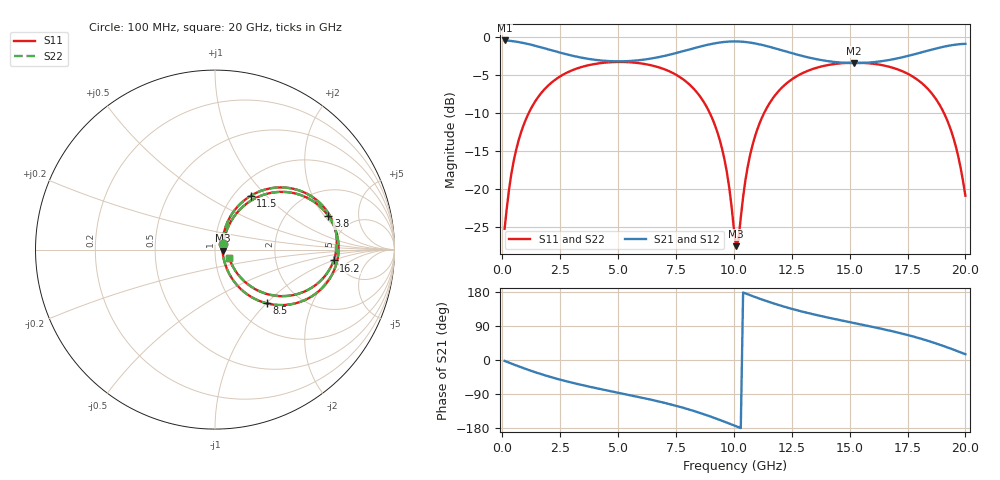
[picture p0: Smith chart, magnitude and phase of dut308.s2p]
! Touchstone file exported from HFSS 2026.1.0
!  File:  C:/ffzhzh/LocalFiles/Ansys_Project_Files/temp_train_TSV_RDL_308_1783028990_51716.aedt
!  Generated:  06:08:00 AM Jul  3, 2026
!  Design:  TSV_RDL
!  Project:  temp_train_TSV_RDL_308_1783028990_51716
! Variables:
!  h_bsmrdl = 3.72um
!  h_ox = 20um
!  h_rdl = 5um
!  h_sub = 68.71um
!  h_tmrdl = 3.03um
!  h_tsv = 68.71um
!  h_via = 3um
!  l_bsmrdl = 782.29um
!  l_sub = 5927.54um
!  l_tmrdl = 773.38um
!  m_sub = 200um
!  pitch = 57.39um
!  r_tsv = 7.88um
!  s_tmrdl = 10um
!  w_bsmrdl = 18.57um
!  w_sub = 500um
!  w_tmrdl = 10.48um
!  x_tsv_center1 = 778.62um
!  x_tsv_center2 = 1579.48um
!  x_tsv_center3 = 2363.34um
!  x_tsv_center4 = 3164.2um
!  x_tsv_center5 = 3948.06um
!  x_tsv_center6 = 4748.92um
# GHz S MA R 50.000000
! Terminal data exported
! Port[1] = TM_RDL1_1_T1
! Port[2] = TM_RDL5_1_T1
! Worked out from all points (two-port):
!   200 points, 100 MHz to 20 GHz, reference 50 ohm
!   highest |S21| = -0.41 dB at 100 MHz (marker M1); lowest = -3.4 dB at 15.2 GHz (marker M2)
!   |S21| within 3 dB of the highest: start of sweep to end of sweep
!   lowest |S11| = -27.5 dB at 10.1 GHz (marker M3), VSWR 1.09, Z = 54.4 - j0.549 ohm
!   |S11| at or under -10 dB: start of sweep to 1.138 GHz; 8.965 GHz to 11.3 GHz (2.337 GHz wide, 23.1 % of centre); 19.08 GHz to end of sweep
!   |S22| runs from -27.5 to -3.2 dB; largest |S21 - S12| = 1.4e-14
!   S11 on the Smith chart (normalised r, x): 100 MHz: 1.10, +0.06; 3.8 GHz: 3.33, +2.19; 8.5 GHz: 1.39, -1.00; 11.5 GHz: 1.19, +0.82; 16.2 GHz: 4.73, -1.02; 20 GHz: 1.16, -0.11
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0.1  0.05483 31.5  0.9541 -2.5  0.9541 -2.5  0.05483 31.5
! Gamma 0 0 0 0
! Port Impedance 50 0 50 0
0.5  0.1553 60.2  0.9416 -12.0  0.9416 -12.0  0.1553 60.2
1.1  0.3077 55.7  0.9051 -25.5  0.9051 -25.5  0.3077 55.7
2.2  0.5143 38.5  0.816 -46.8  0.816 -46.8  0.5143 38.5
3.5  0.6427 20.2  0.7311 -66.9  0.7311 -66.9  0.6427 20.2
3.8  0.6592 16.4  0.7183 -71.0  0.7183 -71.0  0.6592 16.4
5.3  0.6878 -1.6  0.6961 -90.1  0.6961 -90.1  0.6877 -1.6
6.8  0.6317 -20.2  0.7434 -110.1  0.7434 -110.1  0.6317 -20.2
8.5  0.4158 -46.1  0.8658 -138.9  0.8658 -138.9  0.4157 -46.1
9.5  0.1823 -59.6  0.9295 -160.6  0.9295 -160.6  0.1823 -59.7
9.8  0.1026 -55.7  0.9382 -167.7  0.9382 -167.7  0.1025 -55.8
10.1  0.04211 -6.9  0.9402 -174.8  0.9402 -174.8  0.04194 -6.9
10.7  0.1673 65.6  0.9236 171.1  0.9236 171.1  0.1672 65.6
11.5  0.3594 56.4  0.8696 153.6  0.8696 153.6  0.3594 56.5
13.4  0.6184 28.1  0.7271 121.1  0.7271 121.1  0.6183 28.2
15.2  0.6813 6.4  0.6766 97.5  0.6766 97.5  0.6813 6.5
16.2  0.6643 -5.2  0.6907 84.7  0.6907 84.7  0.6642 -5.1
16.7  0.6408 -11.3  0.709 77.9  0.709 77.9  0.6408 -11.2
18  0.5162 -29.0  0.7884 57.6  0.7884 57.6  0.5161 -28.9
18.9  0.3561 -42.2  0.8564 40.3  0.8564 40.3  0.3561 -42.0
19.5  0.2133 -47.6  0.8923 27.0  0.8923 27.0  0.2134 -47.3
20  0.09058 -30.7  0.9067 15.2  0.9067 15.2  0.09107 -30.2
